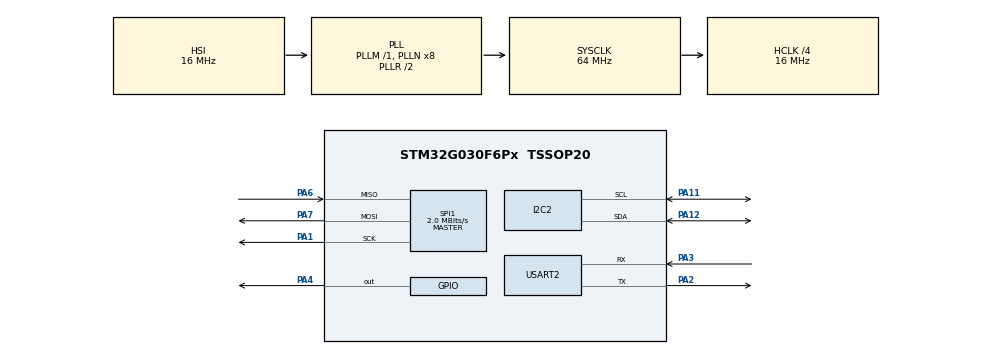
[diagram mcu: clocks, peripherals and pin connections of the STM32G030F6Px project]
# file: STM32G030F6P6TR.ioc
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I2C2.Timing=0x00503D58
Mcu.Family=STM32G0
Mcu.Name=STM32G030F6Px
Mcu.Package=TSSOP20
NVIC.TIM14_IRQn=true\:0\:0\:false\:false\:true\:true\:true\:true
PA1.Mode=Full_Duplex_Master
PA1.Signal=SPI1_SCK
PA11\ [PA9].Mode=I2C
PA11\ [PA9].Signal=I2C2_SCL
PA12\ [PA10].Mode=I2C
PA12\ [PA10].Signal=I2C2_SDA
PA13.Mode=Serial_Wire
PA13.Signal=SYS_SWDIO
PA14-BOOT0.Mode=Serial_Wire
PA14-BOOT0.Signal=SYS_SWCLK
PA14-BOOT0__PA15.StandardMode=true
PA2.Mode=Asynchronous
PA2.Signal=USART2_TX
PA3.Mode=Asynchronous
PA3.Signal=USART2_RX
PA4.PinState=GPIO_PIN_SET
PA4.Signal=GPIO_Output
PA6.Mode=Full_Duplex_Master
PA6.Signal=SPI1_MISO
PA7.Mode=Full_Duplex_Master
PA7.Signal=SPI1_MOSI
PB0__PB1__PB2__PA8.StandardMode=true
PB3__PB4__PB5__PB6.StandardMode=true
PB7__PB8.StandardMode=true
PC14-OSC32_IN\ (PC14)__PB9.StandardMode=true
ProjectManager.HeapSize=0x200
ProjectManager.StackSize=0x400
ProjectManager.TargetToolchain=STM32CubeIDE
RCC.ADCFreq_Value=64000000
RCC.AHBCLKDivider=RCC_SYSCLK_DIV4
RCC.AHBFreq_Value=16000000
RCC.CortexFreq_Value=16000000
RCC.EXTERNAL_CLOCK_VALUE=12288000
RCC.HCLKFreq_Value=16000000
RCC.HSE_VALUE=8000000
RCC.HSI_VALUE=16000000
RCC.LSE_VALUE=32768
RCC.SYSCLKFreq_VALUE=64000000
RCC.SYSCLKSource=RCC_SYSCLKSOURCE_PLLCLK
RCC.VCOOutputFreq_Value=128000000
SPI1.BaudRatePrescaler=SPI_BAUDRATEPRESCALER_8
SPI1.CalculateBaudRate=2.0 MBits/s
SPI1.Direction=SPI_DIRECTION_2LINES
SPI1.Mode=SPI_MODE_MASTER
SPI1.VirtualType=VM_MASTER
TIM14.Period=10000-1
TIM14.Prescaler=1600-1
USART2.VirtualMode-Asynchronous=VM_ASYNC
VP_TIM14_VS_ClockSourceINT.Mode=Enable_Timer
board=custom

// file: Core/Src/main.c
/* USER CODE BEGIN Header */
/**
  ******************************************************************************
  * @file           : main.c
  * @brief          : Main program body
  ******************************************************************************
  * @attention
  *
  * Copyright (c) 2025 STMicroelectronics.
  * All rights reserved.
  *
  * This software is licensed under terms that can be found in the LICENSE file
  * in the root directory of this software component.
  * If no LICENSE file comes with this software, it is provided AS-IS.
  *
  ******************************************************************************
  */
/* USER CODE END Header */
#include "main.h"

/* USER CODE BEGIN Includes */
#include "PMW3901MB/pmw_3901.h"
#include "VL53L1X/vl53l1x.h"

/* USER CODE END Includes */

I2C_HandleTypeDef hi2c2;

SPI_HandleTypeDef hspi1;

TIM_HandleTypeDef htim14;

UART_HandleTypeDef huart2;

void SystemClock_Config(void);
static void MX_GPIO_Init(void);
static void MX_SPI1_Init(void);
static void MX_USART2_UART_Init(void);
static void MX_TIM14_Init(void);
static void MX_I2C2_Init(void);

/* USER CODE BEGIN 0 */
//重写函数 mavlink 心跳函数
void HAL_TIM_PeriodElapsedCallback(TIM_HandleTypeDef *htim){
	if (htim == &htim14){
		send_heart_beat(&huart2);
	}
}

/* USER CODE END 0 */

int main(void)
{

  /* MCU Configuration--------------------------------------------------------*/

  /* Reset of all peripherals, Initializes the Flash interface and the Systick. */
  HAL_Init();

  /* Configure the system clock */
  SystemClock_Config();

  /* Initialize all configured peripherals */
  MX_GPIO_Init();
  MX_SPI1_Init();
  MX_USART2_UART_Init();
  MX_TIM14_Init();
  MX_I2C2_Init();
  /* USER CODE BEGIN 2 */
// 初始3901 先不管了 鸽了 没摔没磕碰 应该坏不了
  uint8_t err = PMW3901_init(hspi1,1);
// 启动timer14 heart_beat 发送定时器
  HAL_TIM_Base_Start_IT(&htim14);
//  初始化vl53
  vl53_Init();
  /* USER CODE END 2 */
  /* Infinite loop */
  /* USER CODE BEGIN WHILE */
  uint32_t last_tick = 0;

//https://mavlink.io/en/messages/common.html#DISTANCE_SENSOR TODO
  while (1){
	  uint32_t now = HAL_GetTick();
	  if (now - last_tick >= 20) {   // 固定 50Hz
	         last_tick = now;

	         int x = 0, y = 0;
	         uint8_t quality = 0;
//	         我测了 3000 才能定住
	         pollingMotion(&x, &y, &quality, 3000);

	         uint16_t distance = vl53_GetDistance();
//
	         send_distance_sensor(&huart2, distance);
	         send_optical_flow(&huart2, -x, -y, quality, distance); // 不要 -1
//			  char xy_buf[64];
//			  snprintf(xy_buf, sizeof(xy_buf), "X: %d,\t Y: %d,\t quality: %d,\t distance: %d \r\n", x, y,quality,distance);
//			  HAL_UART_Transmit(&huart2, (uint8_t*)xy_buf, strlen(xy_buf), 100);

	     }
//	  int x,y = 0;
//	  uint8_t quality = 0;
//
////	  char xy_buf[64];
////	  snprintf(xy_buf, sizeof(xy_buf), "X: %d,\t Y: %d,\t quality: %d,\t distance: %d \r\n", x, y,quality,distance);
////	  HAL_UART_Transmit(&huart2, (uint8_t*)xy_buf, strlen(xy_buf), 100);
//	  pollingMotion(&x,&y,&quality);
//	  send_optical_flow(&huart2,x,y,quality,-1);
//	  HAL_Delay(10);
//	  uint16_t distance = vl53_GetDistance();
//	  send_distance_sensor(&huart2,distance);
//	  HAL_Delay(10);
//	  pollingMotion(&x,&y,&quality);
//	  send_optical_flow(&huart2,x,y,quality,-1);
//	  HAL_Delay(10);
    /* USER CODE END WHILE */

  }
}

void SystemClock_Config(void)
{
  RCC_OscInitTypeDef RCC_OscInitStruct = {0};
  RCC_ClkInitTypeDef RCC_ClkInitStruct = {0};

  /** Configure the main internal regulator output voltage
  */
  HAL_PWREx_ControlVoltageScaling(PWR_REGULATOR_VOLTAGE_SCALE1);

  /** Initializes the RCC Oscillators according to the specified parameters
  * in the RCC_OscInitTypeDef structure.
  */
  RCC_OscInitStruct.OscillatorType = RCC_OSCILLATORTYPE_HSI;
  RCC_OscInitStruct.HSIState = RCC_HSI_ON;
  RCC_OscInitStruct.HSIDiv = RCC_HSI_DIV1;
  RCC_OscInitStruct.HSICalibrationValue = RCC_HSICALIBRATION_DEFAULT;
  RCC_OscInitStruct.PLL.PLLState = RCC_PLL_ON;
  RCC_OscInitStruct.PLL.PLLSource = RCC_PLLSOURCE_HSI;
  RCC_OscInitStruct.PLL.PLLM = RCC_PLLM_DIV1;
  RCC_OscInitStruct.PLL.PLLN = 8;
  RCC_OscInitStruct.PLL.PLLP = RCC_PLLP_DIV2;
  RCC_OscInitStruct.PLL.PLLR = RCC_PLLR_DIV2;
  if (HAL_RCC_OscConfig(&RCC_OscInitStruct) != HAL_OK)
  {
    Error_Handler();
  }

  /** Initializes the CPU, AHB and APB buses clocks
  */
  RCC_ClkInitStruct.ClockType = RCC_CLOCKTYPE_HCLK|RCC_CLOCKTYPE_SYSCLK
                              |RCC_CLOCKTYPE_PCLK1;
  RCC_ClkInitStruct.SYSCLKSource = RCC_SYSCLKSOURCE_PLLCLK;
  RCC_ClkInitStruct.AHBCLKDivider = RCC_SYSCLK_DIV4;
  RCC_ClkInitStruct.APB1CLKDivider = RCC_HCLK_DIV1;

  if (HAL_RCC_ClockConfig(&RCC_ClkInitStruct, FLASH_LATENCY_0) != HAL_OK)
  {
    Error_Handler();
  }
}

static void MX_I2C2_Init(void)
{

  hi2c2.Instance = I2C2;
  hi2c2.Init.Timing = 0x00503D58;
  hi2c2.Init.OwnAddress1 = 0;
  hi2c2.Init.AddressingMode = I2C_ADDRESSINGMODE_7BIT;
  hi2c2.Init.DualAddressMode = I2C_DUALADDRESS_DISABLE;
  hi2c2.Init.OwnAddress2 = 0;
  hi2c2.Init.OwnAddress2Masks = I2C_OA2_NOMASK;
  hi2c2.Init.GeneralCallMode = I2C_GENERALCALL_DISABLE;
  hi2c2.Init.NoStretchMode = I2C_NOSTRETCH_DISABLE;
  if (HAL_I2C_Init(&hi2c2) != HAL_OK)
  {
    Error_Handler();
  }

  /** Configure Analogue filter
  */
  if (HAL_I2CEx_ConfigAnalogFilter(&hi2c2, I2C_ANALOGFILTER_ENABLE) != HAL_OK)
  {
    Error_Handler();
  }

  /** Configure Digital filter
  */
  if (HAL_I2CEx_ConfigDigitalFilter(&hi2c2, 0) != HAL_OK)
  {
    Error_Handler();
  }

}

static void MX_SPI1_Init(void)
{

  /* SPI1 parameter configuration*/
  hspi1.Instance = SPI1;
  hspi1.Init.Mode = SPI_MODE_MASTER;
  hspi1.Init.Direction = SPI_DIRECTION_2LINES;
  hspi1.Init.DataSize = SPI_DATASIZE_8BIT;
  hspi1.Init.CLKPolarity = SPI_POLARITY_LOW;
  hspi1.Init.CLKPhase = SPI_PHASE_1EDGE;
  hspi1.Init.NSS = SPI_NSS_SOFT;
  hspi1.Init.BaudRatePrescaler = SPI_BAUDRATEPRESCALER_8;
  hspi1.Init.FirstBit = SPI_FIRSTBIT_MSB;
  hspi1.Init.TIMode = SPI_TIMODE_DISABLE;
  hspi1.Init.CRCCalculation = SPI_CRCCALCULATION_DISABLE;
  hspi1.Init.CRCPolynomial = 7;
  hspi1.Init.CRCLength = SPI_CRC_LENGTH_DATASIZE;
  hspi1.Init.NSSPMode = SPI_NSS_PULSE_ENABLE;
  if (HAL_SPI_Init(&hspi1) != HAL_OK)
  {
    Error_Handler();
  }

}

static void MX_TIM14_Init(void)
{

  htim14.Instance = TIM14;
  htim14.Init.Prescaler = 1600-1;
  htim14.Init.CounterMode = TIM_COUNTERMODE_UP;
  htim14.Init.Period = 10000-1;
  htim14.Init.ClockDivision = TIM_CLOCKDIVISION_DIV1;
  htim14.Init.AutoReloadPreload = TIM_AUTORELOAD_PRELOAD_DISABLE;
  if (HAL_TIM_Base_Init(&htim14) != HAL_OK)
  {
    Error_Handler();
  }

}

static void MX_USART2_UART_Init(void)
{

  huart2.Instance = USART2;
  huart2.Init.BaudRate = 115200;
  huart2.Init.WordLength = UART_WORDLENGTH_8B;
  huart2.Init.StopBits = UART_STOPBITS_1;
  huart2.Init.Parity = UART_PARITY_NONE;
  huart2.Init.Mode = UART_MODE_TX_RX;
  huart2.Init.HwFlowCtl = UART_HWCONTROL_NONE;
  huart2.Init.OverSampling = UART_OVERSAMPLING_16;
  huart2.Init.OneBitSampling = UART_ONE_BIT_SAMPLE_DISABLE;
  huart2.Init.ClockPrescaler = UART_PRESCALER_DIV1;
  huart2.AdvancedInit.AdvFeatureInit = UART_ADVFEATURE_NO_INIT;
  if (HAL_UART_Init(&huart2) != HAL_OK)
  {
    Error_Handler();
  }

}

static void MX_GPIO_Init(void)
{
  GPIO_InitTypeDef GPIO_InitStruct = {0};

  /* GPIO Ports Clock Enable */
  __HAL_RCC_GPIOA_CLK_ENABLE();

  /*Configure GPIO pin Output Level */
  HAL_GPIO_WritePin(GPIOA, GPIO_PIN_4, GPIO_PIN_SET);

  /*Configure GPIO pin : PA4 */
  GPIO_InitStruct.Pin = GPIO_PIN_4;
  GPIO_InitStruct.Mode = GPIO_MODE_OUTPUT_PP;
  GPIO_InitStruct.Pull = GPIO_NOPULL;
  GPIO_InitStruct.Speed = GPIO_SPEED_FREQ_LOW;
  HAL_GPIO_Init(GPIOA, &GPIO_InitStruct);

}

void Error_Handler(void)
{
  __disable_irq();
  while (1)
  {
  }
}
